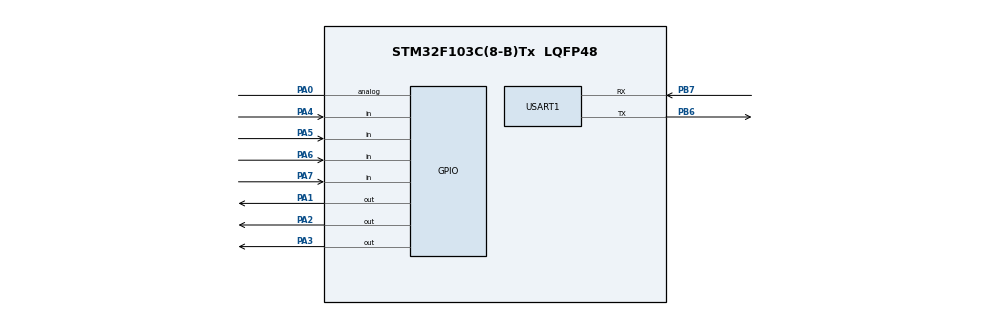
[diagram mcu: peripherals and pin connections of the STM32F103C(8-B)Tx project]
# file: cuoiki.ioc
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Mcu.Family=STM32F1
Mcu.Name=STM32F103C(8-B)Tx
Mcu.Package=LQFP48
NVIC.PriorityGroup=NVIC_PRIORITYGROUP_4
PA0-WKUP.Signal=GPIO_Analog
PA1.Signal=GPIO_Output
PA13.Mode=Serial_Wire
PA13.Signal=SYS_JTMS-SWDIO
PA14.Mode=Serial_Wire
PA14.Signal=SYS_JTCK-SWCLK
PA2.Signal=GPIO_Output
PA3.Signal=GPIO_Output
PA4.Signal=GPIO_Input
PA5.Signal=GPIO_Input
PA6.Signal=GPIO_Input
PA7.Signal=GPIO_Input
PB6.Mode=Asynchronous
PB6.Signal=USART1_TX
PB7.Mode=Asynchronous
PB7.Signal=USART1_RX
ProjectManager.HeapSize=0x200
ProjectManager.StackSize=0x400
ProjectManager.TargetToolchain=MDK-ARM V5.32
RCC.APB1Freq_Value=8000000
RCC.APB2Freq_Value=8000000
TIM1.Period=999
TIM1.Prescaler=63
USART1.VirtualMode=VM_ASYNC
VP_TIM1_VS_ClockSourceINT.Mode=Internal
board=custom

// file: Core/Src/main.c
/* USER CODE BEGIN Header */
/**
 ******************************************************************************
 * @file           : main.c
 * @brief          : Main program body
 ******************************************************************************
 * @attention
 *
 * Copyright (c) 2024 STMicroelectronics.
 * All rights reserved.
 *
 * This software is licensed under terms that can be found in the LICENSE file
 * in the root directory of this software component.
 * If no LICENSE file comes with this software, it is provided AS-IS.
 *
 ******************************************************************************
 */
/* USER CODE END Header */
#include "main.h"

/* USER CODE BEGIN Includes */
#include <stdio.h>
#include <stdlib.h>
#include "lcd_16x2.h"
#include <math.h>
/* USER CODE END Includes */

TIM_HandleTypeDef htim1;

UART_HandleTypeDef huart1;

void SystemClock_Config(void);
static void MX_GPIO_Init(void);
static void MX_TIM1_Init(void);
static void MX_USART1_UART_Init(void);

/* USER CODE BEGIN 0 */
int x = 0;
int y = 0;
int phep_tinh = 0;
int index = 0;
int ketqua = 0;
char key;
char key_old;
// KEYPAD
#define KEYPAD_ROW 4
#define KEYPAD_COL 4

const uint8_t key_code[KEYPAD_ROW][KEYPAD_COL] =
    {
        {'1', '2', '3', 'A'},
        {'4', '5', '6', 'B'},
        {'7', '8', '9', 'C'},
        {'*', '0', '#', 'D'},
};

int key_current1, key_current3;
char key_current[1];

GPIO_TypeDef *Keypad_RowPort[KEYPAD_ROW] = {GPIOA, GPIOA, GPIOA, GPIOA};
uint16_t Keypad_RowPin[KEYPAD_ROW] = {GPIO_PIN_0, GPIO_PIN_1, GPIO_PIN_2, GPIO_PIN_3};

GPIO_TypeDef *Keypad_ColPort[KEYPAD_COL] = {GPIOA, GPIOA, GPIOA, GPIOA};
uint16_t Keypad_ColPin[KEYPAD_COL] = {GPIO_PIN_4, GPIO_PIN_5, GPIO_PIN_6, GPIO_PIN_7};

void KeyPad_select_Row(uint8_t row)
{
    HAL_Delay(10);
    HAL_GPIO_WritePin(Keypad_RowPort[row], Keypad_RowPin[row], GPIO_PIN_SET);
}

void KeyPad_Unselect_Row()
{
    for (uint8_t row = 0; row < KEYPAD_ROW; row++)
    {
        HAL_Delay(10);
        HAL_GPIO_WritePin(Keypad_RowPort[row], Keypad_RowPin[row], GPIO_PIN_RESET);
    }
}

uint8_t check_colum()
{
    return 0;
}

uint8_t col_test, row_test;
uint8_t KeyPad_GetKey()
{
    for (uint8_t row = 0; row < KEYPAD_ROW; row++)
    {
        KeyPad_Unselect_Row();
        KeyPad_select_Row(row);
        HAL_Delay(100);
        for (uint8_t col = 0; col < KEYPAD_COL; col++)
        {
            if (HAL_GPIO_ReadPin(GPIOA, Keypad_ColPin[col]) == 1)
            {
                col_test = col;
                row_test = row;
                return key_code[row][col];
            }
        }
    }
    return 0;
}
enum
{
    NHAP_SO_THU_NHAT,
		NHAP_PHEP_TINH,
    NHAP_SO_THU_HAI,
    TINH
};
enum
{
    CONG,
    TRU,
    NHAN,
    CHIA
};
/* USER CODE END 0 */

int main(void)
{

    /* MCU Configuration--------------------------------------------------------*/

    /* Reset of all peripherals, Initializes the Flash interface and the Systick. */
    HAL_Init();

    /* USER CODE BEGIN Init */
    Lcd_Init();
    Lcd_clear_display();
    Lcd_gotoxy(0, 0);

    /* USER CODE END Init */

    /* Configure the system clock */
    SystemClock_Config();

    /* Initialize all configured peripherals */
    MX_GPIO_Init();
    MX_TIM1_Init();
    MX_USART1_UART_Init();

    int step = 0;

    /* Infinite loop */
    /* USER CODE BEGIN WHILE */
    while (1)
    {
        key = KeyPad_GetKey();
        if(key_old == key)
        {
            continue;
        }
        else
        {
            key_old = key;
        }
        if (key != 0)
        {
            switch (step)
            {
            case NHAP_SO_THU_NHAT:
                if(key >= '0' && key <= '9')
                {
                    x *= 10;
                    x += (key - '0');
                }
                else if(key >= 'A' && key <= 'D')
                {
                    phep_tinh = key - 'A';
                    step = NHAP_PHEP_TINH;
                }
                else if(key == '*')
                {
                    x /= 10;
										Lcd_gotoxy(--index, 0);
										Lcd_write_string(" ");

                }
                break;
						case NHAP_PHEP_TINH:
								if(key >= '0' && key <= '9')
								{
										y *= 10;
										y += (key - '0');
										step = NHAP_SO_THU_HAI;
								}
								else if(key >= 'A' && key <= 'D')
                {
                    phep_tinh = key - 'A';
                    step = NHAP_PHEP_TINH;
                }
								break;
             case NHAP_SO_THU_HAI:
                if(key >= '0' && key <= '9')
                {
                    y *= 10;
                    y += (key - '0');
                }
                else if(key == '*')
                {
                    y /= 10;
										Lcd_gotoxy(--index, 0);
										Lcd_write_string(" ");
                }
                else if(key == '#')
                {
                    step = TINH;
                }
								break;
            case TINH:
                switch (phep_tinh)
                {
                case CONG:
                    ketqua = x + y;
                    break;
                case TRU:
                    ketqua = x - y;
                    break;
                case NHAN:
                    ketqua = x * y;
                    break;
                case CHIA:
                    ketqua = x / y;
                    break;
                default:
                    break;
                }
                Lcd_gotoxy(0, 1);
                Lcd_write_int(ketqua);
                break;
            }

            Lcd_gotoxy(index++, 0);
						if(key >= '0' && key <= '9')
							Lcd_write_int(key - 48);
						else if(key == 'A')
							Lcd_write_string("+");
						else if(key == 'B')
							Lcd_write_string("-");
						else if(key == 'C')
							Lcd_write_string("*");
						else if(key == 'D')
							Lcd_write_string("/");
        }
        /* USER CODE END WHILE */

    }
}

void SystemClock_Config(void)
{
    RCC_OscInitTypeDef RCC_OscInitStruct = {0};
    RCC_ClkInitTypeDef RCC_ClkInitStruct = {0};

    /** Initializes the RCC Oscillators according to the specified parameters
     * in the RCC_OscInitTypeDef structure.
     */
    RCC_OscInitStruct.OscillatorType = RCC_OSCILLATORTYPE_HSI;
    RCC_OscInitStruct.HSIState = RCC_HSI_ON;
    RCC_OscInitStruct.HSICalibrationValue = RCC_HSICALIBRATION_DEFAULT;
    RCC_OscInitStruct.PLL.PLLState = RCC_PLL_NONE;
    if (HAL_RCC_OscConfig(&RCC_OscInitStruct) != HAL_OK)
    {
        Error_Handler();
    }

    /** Initializes the CPU, AHB and APB buses clocks
     */
    RCC_ClkInitStruct.ClockType = RCC_CLOCKTYPE_HCLK | RCC_CLOCKTYPE_SYSCLK | RCC_CLOCKTYPE_PCLK1 | RCC_CLOCKTYPE_PCLK2;
    RCC_ClkInitStruct.SYSCLKSource = RCC_SYSCLKSOURCE_HSI;
    RCC_ClkInitStruct.AHBCLKDivider = RCC_SYSCLK_DIV1;
    RCC_ClkInitStruct.APB1CLKDivider = RCC_HCLK_DIV1;
    RCC_ClkInitStruct.APB2CLKDivider = RCC_HCLK_DIV1;

    if (HAL_RCC_ClockConfig(&RCC_ClkInitStruct, FLASH_LATENCY_0) != HAL_OK)
    {
        Error_Handler();
    }
}

static void MX_TIM1_Init(void)
{

    TIM_ClockConfigTypeDef sClockSourceConfig = {0};
    TIM_MasterConfigTypeDef sMasterConfig = {0};

    htim1.Instance = TIM1;
    htim1.Init.Prescaler = 63;
    htim1.Init.CounterMode = TIM_COUNTERMODE_UP;
    htim1.Init.Period = 999;
    htim1.Init.ClockDivision = TIM_CLOCKDIVISION_DIV1;
    htim1.Init.RepetitionCounter = 0;
    htim1.Init.AutoReloadPreload = TIM_AUTORELOAD_PRELOAD_DISABLE;
    if (HAL_TIM_Base_Init(&htim1) != HAL_OK)
    {
        Error_Handler();
    }
    sClockSourceConfig.ClockSource = TIM_CLOCKSOURCE_INTERNAL;
    if (HAL_TIM_ConfigClockSource(&htim1, &sClockSourceConfig) != HAL_OK)
    {
        Error_Handler();
    }
    sMasterConfig.MasterOutputTrigger = TIM_TRGO_RESET;
    sMasterConfig.MasterSlaveMode = TIM_MASTERSLAVEMODE_DISABLE;
    if (HAL_TIMEx_MasterConfigSynchronization(&htim1, &sMasterConfig) != HAL_OK)
    {
        Error_Handler();
    }
}

static void MX_USART1_UART_Init(void)
{

    huart1.Instance = USART1;
    huart1.Init.BaudRate = 115200;
    huart1.Init.WordLength = UART_WORDLENGTH_8B;
    huart1.Init.StopBits = UART_STOPBITS_1;
    huart1.Init.Parity = UART_PARITY_NONE;
    huart1.Init.Mode = UART_MODE_TX_RX;
    huart1.Init.HwFlowCtl = UART_HWCONTROL_NONE;
    huart1.Init.OverSampling = UART_OVERSAMPLING_16;
    if (HAL_UART_Init(&huart1) != HAL_OK)
    {
        Error_Handler();
    }
}

static void MX_GPIO_Init(void)
{
    GPIO_InitTypeDef GPIO_InitStruct = {0};

    /* GPIO Ports Clock Enable */
    __HAL_RCC_GPIOA_CLK_ENABLE();
    __HAL_RCC_GPIOB_CLK_ENABLE();

    /*Configure GPIO pin Output Level */
    HAL_GPIO_WritePin(GPIOA, GPIO_PIN_0 | GPIO_PIN_1 | GPIO_PIN_2 | GPIO_PIN_3, GPIO_PIN_RESET);

    /*Configure GPIO pins : PA0 PA1 PA2 PA3 */
    GPIO_InitStruct.Pin = GPIO_PIN_0 | GPIO_PIN_1 | GPIO_PIN_2 | GPIO_PIN_3;
    GPIO_InitStruct.Mode = GPIO_MODE_OUTPUT_PP;
    GPIO_InitStruct.Pull = GPIO_NOPULL;
    GPIO_InitStruct.Speed = GPIO_SPEED_FREQ_LOW;
    HAL_GPIO_Init(GPIOA, &GPIO_InitStruct);

    /*Configure GPIO pins : PA4 PA5 PA6 PA7 */
    GPIO_InitStruct.Pin = GPIO_PIN_4 | GPIO_PIN_5 | GPIO_PIN_6 | GPIO_PIN_7;
    GPIO_InitStruct.Mode = GPIO_MODE_INPUT;
    GPIO_InitStruct.Pull = GPIO_PULLDOWN;
    HAL_GPIO_Init(GPIOA, &GPIO_InitStruct);

}

void Error_Handler(void)
{
    __disable_irq();
    while (1)
    {
    }
}
